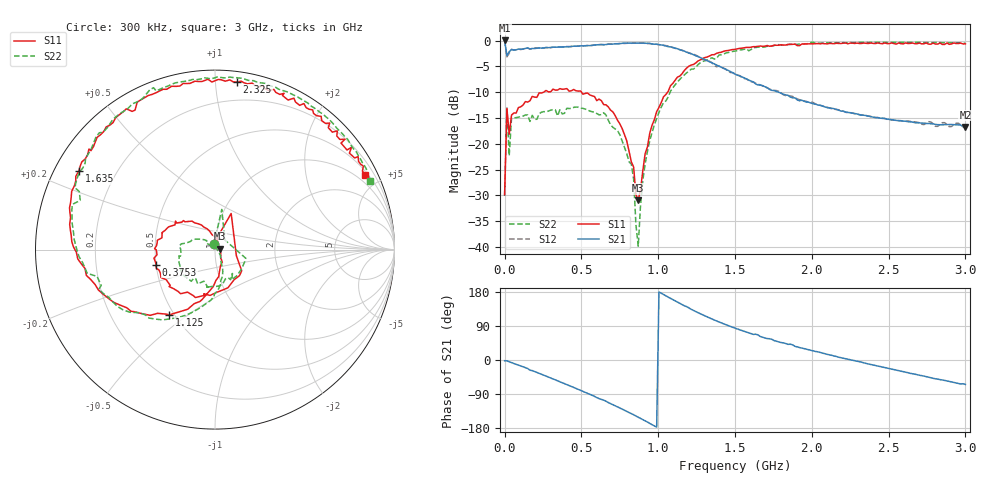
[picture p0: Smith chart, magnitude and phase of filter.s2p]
!Keysight Technologies,M9372A,MY54321100,A.14.10.13
!Date: Tuesday, March 10, 2026 15:49:20
!Correction: S11(C* 2-Port  )
!S21(C* 2-Port  )
!S12(C* 2-Port  )
!S22(C* 2-Port  )
!S2P File: Measurement: :
# Hz S  dB  R 50
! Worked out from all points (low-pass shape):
!   201 points, 300 kHz to 3 GHz, reference 50 ohm
!   highest |S21| = 0.05 dB at 300 kHz (marker M1); lowest = -16.7 dB at 3 GHz (marker M2)
!   |S21| within 3 dB of the highest: start of sweep to 1.248 GHz
!   lowest |S11| = -31.0 dB at 870.2 MHz (marker M3), VSWR 1.06, Z = 52.8 + j0.631 ohm
!   |S11| at or under -10 dB: start of sweep to 253 MHz; 501.2 MHz to 1.061 GHz (559.7 MHz wide, 71.7 % of centre)
!   |S22| runs from -39.9 to -0.3 dB; largest |S21 - S12| = 0.028
!   S11 on the Smith chart (normalised r, x): 300 kHz: 0.98, +0.06; 375.3 MHz: 0.50, -0.09; 1.125 GHz: 0.47, -0.43; 1.635 GHz: 0.07, +0.27; 2.325 GHz: 0.07, +1.14; 3 GHz: 0.65, +4.15
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300000  -29.91 105.1  0.05 -1.9  0.05 -1.9  -30.07 101.8
1.52985e7  -13.13 65.9  -2.88 -2.2  -3.13 -3.7  -12.88 80.5
3.0297e7  -18.14 -16.0  -2.15 -4.8  -2.43 -4.0  -22.31 43.7
4.52955e7  -14.43 -38.4  -1.69 -6.9  -1.69 -7.0  -14.97 -15.7
1.80282e8  -10.80 -112.2  -1.51 -27.9  -1.51 -27.9  -14.48 -62.6
3.752625e8  -9.42 -165.6  -1.23 -59.9  -1.18 -59.4  -14.19 -123.0
5.10249e8  -10.37 167.5  -0.99 -82.8  -1.01 -83.2  -13.12 -148.4
7.50225e8  -16.11 118.8  -0.56 -126.5  -0.56 -126.5  -18.22 151.6
8.252175e8  -23.50 82.4  -0.48 -141.5  -0.49 -141.8  -23.95 142.9
8.40216e8  -24.51 76.1  -0.48 -144.5  -0.48 -144.9  -26.83 141.1
8.70213e8  -30.95 12.1  -0.47 -151.1  -0.46 -150.9  -39.86 20.4
8.852115e8  -28.87 -28.0  -0.48 -154.2  -0.47 -154.1  -31.90 -36.2
9.152085e8  -21.90 -59.9  -0.49 -160.5  -0.52 -160.7  -23.86 -59.3
1.0052e9  -12.93 -96.3  -0.76 179.5  -0.78 179.5  -13.89 -82.1
1.125188e9  -7.07 -125.0  -1.55 152.9  -1.57 152.8  -8.04 -113.3
1.245176e9  -4.30 -149.3  -2.92 127.7  -2.79 127.4  -5.21 -140.2
1.50015e9  -1.68 167.6  -6.47 84.0  -6.44 84.0  -2.02 173.4
1.635136e9  -1.15 150.0  -8.40 68.0  -8.27 65.7  -1.31 154.4
2.010099e9  -0.60 110.5  -12.24 23.9  -12.01 22.9  -0.31 110.8
2.325068e9  -0.52 82.5  -14.43 -5.8  -14.42 -5.9  -0.31 82.7
2.50505e9  -0.57 67.4  -15.27 -22.5  -15.25 -22.9  -0.33 67.1
3e9  -0.61 26.5  -16.74 -64.5  -16.52 -65.4  -0.49 24.0
